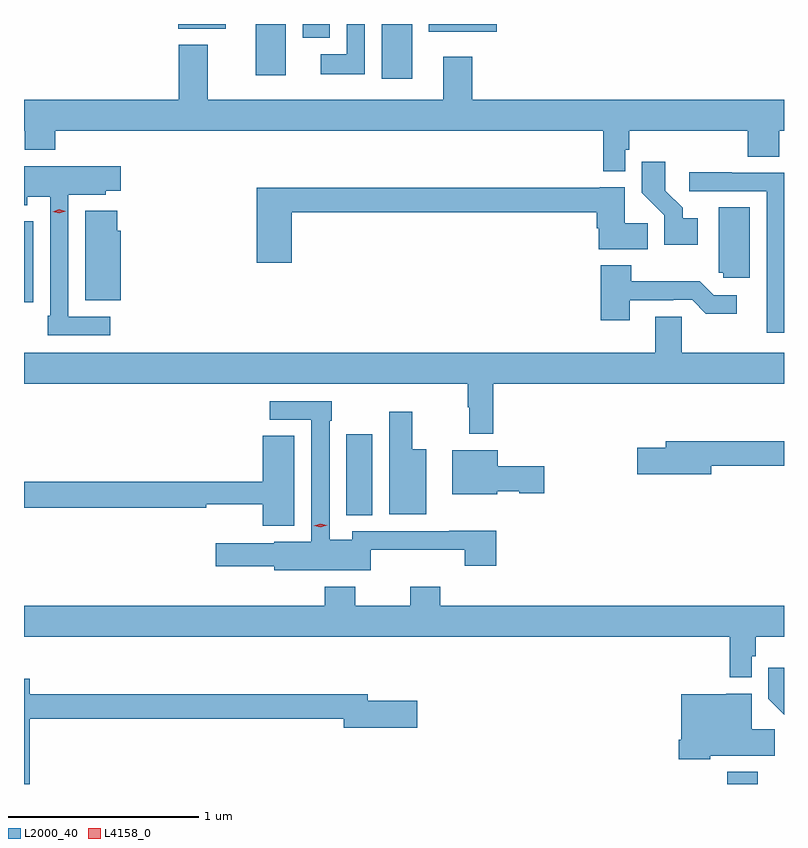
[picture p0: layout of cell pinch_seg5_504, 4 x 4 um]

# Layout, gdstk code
import gdstk
lib = gdstk.Library(unit=1e-6, precision=1e-09)
def R(c, l, rs):  # rectangles x0, y0, x1, y1
    for r in rs: c.add(gdstk.rectangle(r[:2], r[2:], *l))
def P(c, l, *ps):  # polygons
    for p in ps: c.add(gdstk.Polygon(p, *l))
L2000_40 = (2000, 40)
L4158_0 = (4158, 0)

pinch_seg5_504 = lib.new_cell('pinch_seg5_504')
R(pinch_seg5_504, L2000_40, [(894.191,840.002,894.351,840.067), (892.187,841.417,892.324,841.843), (890.49,842.538,890.539,842.963), (892.373,843.714,892.534,844.002), (891.71,843.732,891.868,844.002), (891.956,843.929,892.099,844.002), (892.619,843.962,892.978,844.002), (891.303,843.977,891.553,844.002)])
P(pinch_seg5_504, L2000_40, [(892.284,844.002),(892.188,844.002),(892.188,843.844),(892.053,843.844),(892.053,843.737),(892.284,843.737)],
  [(893.655,843.339),(893.675,843.339),(893.675,843.44),(894.299,843.44),(894.299,843.304),(894.464,843.304),(894.464,843.44),(894.49,843.44),(894.49,843.604),(892.85,843.604),(892.85,843.829),(892.697,843.829),(892.697,843.604),(891.457,843.604),(891.457,843.892),(891.305,843.892),(891.305,843.604),(890.49,843.604),(890.49,843.44),(890.494,843.44),(890.494,843.341),(890.654,843.341),(890.654,843.44),(893.539,843.44),(893.539,843.227),(893.655,843.227)],
  [(894.037,842.98),(893.956,842.98),(893.956,843.035),(893.866,843.125),(893.866,843.277),(893.74,843.277),(893.74,843.114),(893.859,842.995),(893.859,842.84),(894.037,842.84)],
  [(890.944,842.46),(890.724,842.46),(890.724,843.104),(890.919,843.104),(890.919,843.125),(890.998,843.125),(890.998,843.253),(890.49,843.253),(890.49,843.048),(890.508,843.048),(890.508,843.092),(890.628,843.092),(890.628,842.467),(890.616,842.467),(890.616,842.364),(890.944,842.364)],
  [(894.49,843.219),(894.215,843.219),(894.215,843.222),(893.991,843.222),(893.991,843.123),(894.399,843.123),(894.399,842.598),(894.398,842.598),(894.398,842.376),(894.49,842.376)],
  [(891.899,843.01),(893.504,843.01),(893.504,842.927),(893.516,842.927),(893.516,842.816),(893.774,842.816),(893.774,842.954),(893.653,842.954),(893.653,843.142),(893.52,843.142),(893.52,843.139),(891.716,843.139),(891.716,842.745),(891.899,842.745)],
  [(894.31,843.038),(894.146,843.038),(894.146,842.694),(894.171,842.694),(894.171,842.667),(894.31,842.667)],
  [(890.998,842.913),(890.98,842.913),(890.98,843.019),(890.813,843.019),(890.813,842.549),(890.998,842.549)],
  [(893.677,842.547),(893.906,842.547),(893.906,842.55),(894.006,842.55),(894.079,842.477),(894.241,842.477),(894.241,842.574),(894.12,842.574),(894.047,842.647),(893.685,842.647),(893.685,842.731),(893.525,842.731),(893.525,842.442),(893.677,842.442)],
  [(892.961,842.108),(894.49,842.108),(894.49,842.272),(893.952,842.272),(893.952,842.462),(893.813,842.462),(893.813,842.272),(890.49,842.272),(890.49,842.108),(892.825,842.108),(892.825,841.985),(892.833,841.985),(892.833,841.845),(892.961,841.845)],
  [(892.314,841.235),(892.811,841.235),(892.811,841.152),(892.976,841.152),(892.976,841.334),(892.727,841.334),(892.727,841.332),(892.218,841.332),(892.218,841.288),(892.098,841.288),(892.098,841.913),(892.111,841.913),(892.111,842.016),(891.783,842.016),(891.783,841.92),(892.002,841.92),(892.002,841.276),(891.807,841.276),(891.807,841.27),(891.498,841.27),(891.498,841.148),(891.807,841.148),(891.807,841.127),(892.314,841.127)],
  [(892.606,841.765),(892.534,841.765),(892.534,841.96),(892.412,841.96),(892.412,841.421),(892.606,841.421)],
  [(891.913,841.835),(891.746,841.835),(891.746,841.592),(890.49,841.592),(890.49,841.456),(891.45,841.456),(891.45,841.475),(891.746,841.475),(891.746,841.361),(891.913,841.361)],
  [(894.106,841.678),(894.49,841.678),(894.49,841.807),(893.867,841.807),(893.867,841.773),(893.718,841.773),(893.718,841.631),(894.106,841.631)],
  [(892.98,841.544),(893.097,841.544),(893.097,841.532),(893.227,841.532),(893.227,841.674),(892.984,841.674),(892.984,841.759),(892.745,841.759),(892.745,841.526),(892.98,841.526)],
  [(894.321,840.675),(894.341,840.675),(894.341,840.776),(894.49,840.776),(894.49,840.94),(892.682,840.94),(892.682,841.039),(892.522,841.039),(892.522,840.94),(892.233,840.94),(892.233,841.039),(892.073,841.039),(892.073,840.94),(890.49,840.94),(890.49,840.776),(894.205,840.776),(894.205,840.563),(894.321,840.563)],
  [(894.49,840.613),(894.406,840.613),(894.406,840.45),(894.49,840.366)],
  [(890.519,840.346),(892.172,840.346),(892.172,840.299),(892.561,840.299),(892.561,840.441),(892.3,840.441),(892.3,840.475),(890.519,840.475),(890.519,840.555),(890.49,840.555),(890.49,840.002),(890.519,840.002)],
  [(894.102,840.152),(894.44,840.152),(894.44,840.29),(894.319,840.29),(894.319,840.478),(894.186,840.478),(894.186,840.475),(893.948,840.475),(893.948,840.235),(893.936,840.235),(893.936,840.131),(894.102,840.131)])
P(pinch_seg5_504, L4158_0, [(890.676,843.006),(890.641,843.015),(890.641,843.015),(890.641,843.015),(890.676,843.026),(890.711,843.017),(890.711,843.016),(890.711,843.016)],
  [(892.051,841.353),(892.016,841.362),(892.015,841.362),(892.016,841.362),(892.05,841.373),(892.085,841.365),(892.085,841.365),(892.085,841.364)])

lib.write_gds('pinch_seg5_504.gds')
